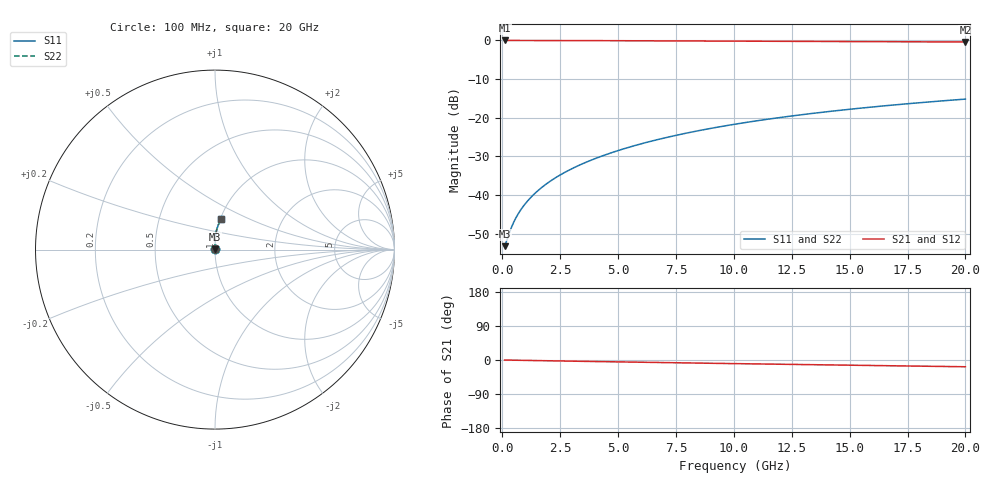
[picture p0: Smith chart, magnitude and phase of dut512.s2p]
! Touchstone file exported from HFSS 2024.1.0
!  File:  C:/UserFiles/LocalFiles/RDL_TSV_Batchsim/temp_RDL_bottom_512_1779687736.aedt
!  Generated:  01:45:00 PM May 25, 2026
!  Design:  RDL_bottom
!  Project:  temp_RDL_bottom_512_1779687736
!  Setup:  Setup1
!  Solution:  Sweep
! Variables:
!  dtsv = 10.80580581um
!  hbump = 3um
!  htsv = 72.21um
!  ldown = 238.94um
!  lrdl = 100um
!  p = 40
!  p1 = 43.49um
!  rhole = 1um
!  t = 450um
!  tdown = 2.16um
!  trdl = 3.915915916um
!  wdown = 24.29um
!  wrdl = 20um
# GHz S MA R 50.000000
! Terminal data exported
! Port[1] = RDL1_T1
! Port[2] = RDL1_T2
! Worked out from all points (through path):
!   200 points, 100 MHz to 20 GHz, reference 50 ohm
!   highest |S21| = -0.02 dB at 100 MHz (marker M1); lowest = -0.4 dB at 20 GHz (marker M2)
!   group delay of S21, straight-line fit = 2.45 ps
!   lowest |S11| = -53.2 dB at 100 MHz (marker M3), VSWR 1.00, Z = 50.2 + j0.0825 ohm
!   |S11| at or under -10 dB: start of sweep to end of sweep
!   |S22| runs from -53.2 to -15.2 dB; largest |S21 - S12| = 2.1e-15
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0.1  0.002183 22.1  0.998 -0.1  0.998 -0.1  0.002183 22.1
! Gamma 0 0 0 0
! Port Impedance 50 0 50 0
0.4  0.003851 55.0  0.9977 -0.4  0.9977 -0.4  0.003851 55.0
0.5  0.004499 59.7  0.9976 -0.5  0.9976 -0.5  0.004499 59.7
0.6  0.005151 63.2  0.9975 -0.6  0.9975 -0.6  0.005151 63.2
0.7  0.005803 65.9  0.9974 -0.7  0.9974 -0.7  0.005803 65.9
0.9  0.007113 70.1  0.9972 -0.9  0.9972 -0.9  0.007113 70.1
1.2  0.009106 74.5  0.9969 -1.3  0.9969 -1.3  0.009106 74.5
1.4  0.01046 76.7  0.9967 -1.5  0.9967 -1.5  0.01046 76.7
1.7  0.01252 79.3  0.9964 -1.8  0.9964 -1.8  0.01252 79.3
2.2  0.01604 82.3  0.9958 -2.3  0.9958 -2.3  0.01604 82.3
2.8  0.0204 84.7  0.9949 -2.9  0.9949 -2.9  0.0204 84.7
3.5  0.02567 86.5  0.9937 -3.6  0.9937 -3.6  0.02567 86.5
4.2  0.03113 87.8  0.9924 -4.2  0.9924 -4.2  0.03113 87.8
5  0.03761 88.6  0.9906 -5.0  0.9906 -5.0  0.03761 88.6
5.9  0.04516 89.1  0.9885 -5.8  0.9885 -5.8  0.04516 89.1
6.8  0.05296 89.3  0.9863 -6.7  0.9863 -6.7  0.05296 89.3
8.4  0.0673 88.8  0.9823 -8.1  0.9823 -8.1  0.0673 88.8
10.1  0.08296 87.8  0.9779 -9.6  0.9779 -9.6  0.08296 87.8
11.7  0.09788 86.5  0.9739 -11.0  0.9739 -11.0  0.09788 86.5
13.4  0.1138 84.9  0.9697 -12.4  0.9697 -12.4  0.1138 84.9
16.7  0.1443 81.7  0.9616 -15.1  0.9616 -15.1  0.1443 81.7
20  0.1741 78.5  0.9536 -17.8  0.9536 -17.8  0.1741 78.5
